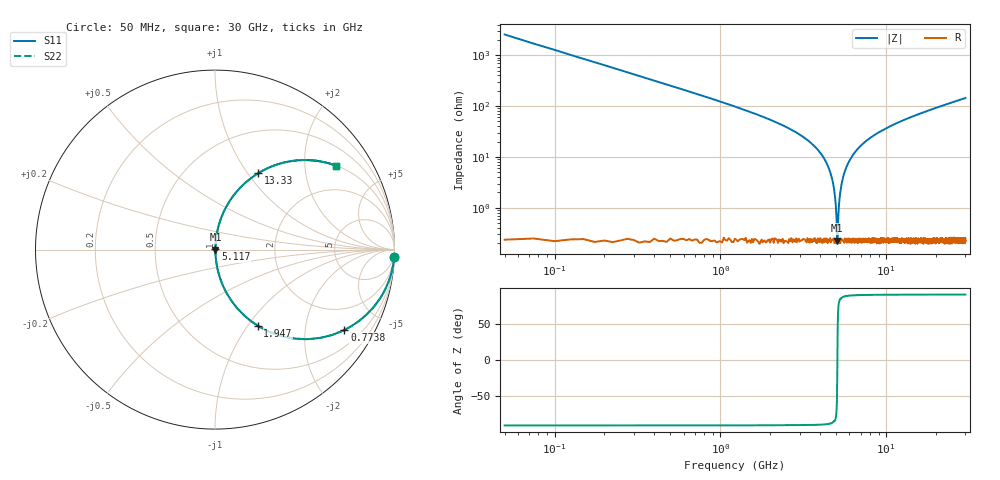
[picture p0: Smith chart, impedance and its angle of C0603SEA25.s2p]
!	AVX Thin Film Operation 	Date: April 2014
!	Description: Accu-P® Series, Thin Film  SMD RF Capacitor
!	Part Number: 06031JA25PBSTR
# MHZ S MA R 50
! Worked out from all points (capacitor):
!   1201 points, 50 MHz to 30 GHz, reference 50 ohm
!   read as one part in series: C = 1.25 pF near 199.8 MHz
!   lowest |Z| = 227 mohm at 5.067 GHz (marker M1)
!   series resonance near 5.074 GHz, so ESL is about 790 pH
!   S11 on the Smith chart (normalised r, x): 50 MHz: 1, -51; 773.8 MHz: 1.00, -3.22; 1.947 GHz: 1.00, -1.11; 5.117 GHz: 1.00, +0.01; 13.33 GHz: 1.00, +1.13; 30 GHz: 1.00, +2.88
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50  0.999 -2.2  0.039 87.7  0.039 87.7  0.999 -2.2
349.5  0.964 -15.4  0.266 74.5  0.266 74.5  0.964 -15.4
773.792  0.849 -31.9  0.528 58.1  0.528 58.1  0.849 -31.9
1946.833  0.486 -60.7  0.872 29.1  0.872 29.1  0.486 -60.7
3394.417  0.203 -77.7  0.977 11.7  0.977 11.7  0.203 -77.7
4243  0.09 -83.4  0.994 5.1  0.994 5.1  0.09 -83.4
4717.208  0.037 -84.4  0.997 2.1  0.997 2.1  0.037 -84.4
4966.792  0.011 -77.5  0.998 0.6  0.998 0.6  0.011 -77.5
5041.667  0.003947 -54.8  0.998 0.2  0.998 0.2  0.003947 -54.8
5066.625  0.002389 -18.5  0.998 0.0  0.998 0.0  0.002389 -18.5
5116.542  0.004727 61.1  0.998 -0.2  0.998 -0.2  0.004727 61.1
5191.417  0.012 78.1  0.998 -0.7  0.998 -0.7  0.012 78.1
5341.167  0.026 83.5  0.997 -1.5  0.997 -1.5  0.026 83.5
5515.875  0.042 84.5  0.997 -2.4  0.997 -2.4  0.042 84.5
6264.625  0.106 82.7  0.992 -6.1  0.992 -6.1  0.106 82.7
7712.208  0.211 77.2  0.975 -12.2  0.975 -12.2  0.211 77.2
10058.29  0.347 69.3  0.936 -20.3  0.936 -20.3  0.347 69.3
13327.83  0.49 60.4  0.87 -29.3  0.87 -29.3  0.49 60.4
15025  0.549 56.5  0.834 -33.3  0.834 -33.3  0.549 56.5
20016.67  0.679 47.1  0.733 -42.7  0.733 -42.7  0.679 47.1
25033.29  0.764 40.1  0.644 -49.8  0.644 -49.8  0.764 40.1
30000  0.821 34.7  0.57 -55.2  0.57 -55.2  0.821 34.7
